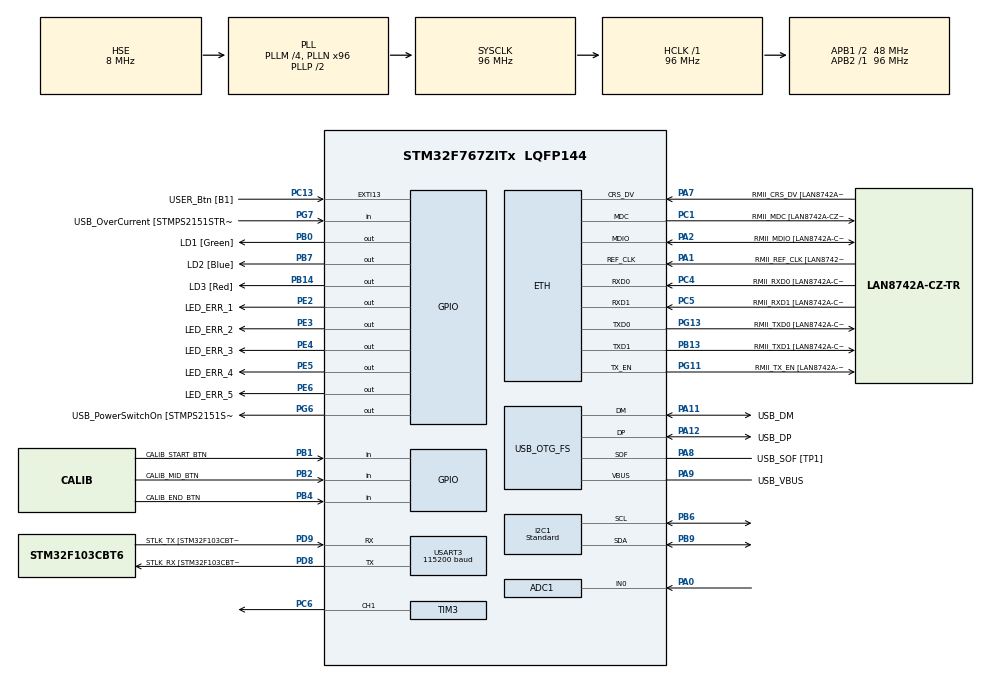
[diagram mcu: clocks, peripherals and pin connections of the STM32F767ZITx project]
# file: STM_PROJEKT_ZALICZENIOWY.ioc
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ADC1.Channel-0\#ChannelRegularConversion=ADC_CHANNEL_0
ADC1.ContinuousConvMode=DISABLE
ADC1.NbrOfConversionFlag=1
ADC1.Rank-0\#ChannelRegularConversion=1
ADC1.SamplingTime-0\#ChannelRegularConversion=ADC_SAMPLETIME_480CYCLES
ADC1.master=1
ARM.CMSIS.5.7.0.CMSISJjCORE=true
ARM.CMSIS.5.7.0.CMSISJjDSP=Library
ETH.MediaInterface=HAL_ETH_RMII_MODE
ETH.PHY_Name=LAN8742A_PHY_ADDRESS
ETH.PHY_Value=0
ETH.PhyAddress=0
FREERTOS.Tasks01=defaultTask,0,256,StartDefaultTask,Default,NULL,Dynamic,NULL,NULL;ControlTask,2,512,StartControlTask,Default,NULL,Dynamic,NULL,NULL
FREERTOS.configUSE_NEWLIB_REENTRANT=1
I2C1.I2C_Speed_Mode=I2C_Standard
I2C1.Timing=0x20303E5D
Mcu.Family=STM32F7
Mcu.Name=STM32F767ZITx
Mcu.Package=LQFP144
NVIC.PriorityGroup=NVIC_PRIORITYGROUP_4
NVIC.TIM1_UP_TIM10_IRQn=true\:15\:0\:false\:false\:true\:false\:false\:true\:true
NVIC.TimeBase=TIM1_UP_TIM10_IRQn
NVIC.TimeBaseIP=TIM1
NVIC.USART3_IRQn=true\:5\:0\:false\:false\:true\:true\:true\:true\:true
PA0/WKUP.Signal=ADCx_IN0
PA1.GPIO_Label=RMII_REF_CLK [LAN8742A-CZ-TR_REFCLK0]
PA1.Mode=RMII
PA1.Signal=ETH_REF_CLK
PA10.GPIO_Label=USB_ID
PA10.Signal=USB_OTG_FS_ID
PA11.GPIO_Label=USB_DM
PA11.Mode=Device_Only
PA11.Signal=USB_OTG_FS_DM
PA12.GPIO_Label=USB_DP
PA12.Mode=Device_Only
PA12.Signal=USB_OTG_FS_DP
PA13.GPIO_Label=TMS
PA13.Mode=Serial_Wire
PA13.Signal=SYS_JTMS-SWDIO
PA14.GPIO_Label=TCK
PA14.Mode=Serial_Wire
PA14.Signal=SYS_JTCK-SWCLK
PA2.GPIO_Label=RMII_MDIO [LAN8742A-CZ-TR_MDIO]
PA2.Mode=RMII
PA2.Signal=ETH_MDIO
PA7.GPIO_Label=RMII_CRS_DV [LAN8742A-CZ-TR_CRS_DV]
PA7.Mode=RMII
PA7.Signal=ETH_CRS_DV
PA8.GPIO_Label=USB_SOF [TP1]
PA8.Mode=Activate_SOF_FS
PA8.Signal=USB_OTG_FS_SOF
PA9.GPIO_Label=USB_VBUS
PA9.Mode=Activate_VBUS
PA9.Signal=USB_OTG_FS_VBUS
PB0.GPIO_Label=LD1 [Green]
PB0.Signal=GPIO_Output
PB1.GPIO_Label=CALIB_START_BTN
PB1.GPIO_PuPd=GPIO_PULLUP
PB1.Signal=GPIO_Input
PB13.GPIO_Label=RMII_TXD1 [LAN8742A-CZ-TR_TXD1]
PB13.Mode=RMII
PB13.Signal=ETH_TXD1
PB14.GPIO_Label=LD3 [Red]
PB14.Signal=GPIO_Output
PB2.GPIO_Label=CALIB_MID_BTN
PB2.GPIO_PuPd=GPIO_PULLUP
PB2.Signal=GPIO_Input
PB3.GPIO_Label=SWO
PB3.Signal=SYS_JTDO-SWO
PB4.GPIO_Label=CALIB_END_BTN
PB4.GPIO_PuPd=GPIO_PULLUP
PB4.Signal=GPIO_Input
PB6.Mode=I2C
PB6.Signal=I2C1_SCL
PB7.GPIO_Label=LD2 [Blue]
PB7.Signal=GPIO_Output
PB9.Mode=I2C
PB9.Signal=I2C1_SDA
PC1.GPIO_Label=RMII_MDC [LAN8742A-CZ-TR_MDC]
PC1.Mode=RMII
PC1.Signal=ETH_MDC
PC13.GPIO_Label=USER_Btn [B1]
PC13.Signal=GPXTI13
PC14/OSC32_IN.Mode=LSE-External-Oscillator
PC14/OSC32_IN.Signal=RCC_OSC32_IN
PC15/OSC32_OUT.Mode=LSE-External-Oscillator
PC15/OSC32_OUT.Signal=RCC_OSC32_OUT
PC4.GPIO_Label=RMII_RXD0 [LAN8742A-CZ-TR_RXD0]
PC4.Mode=RMII
PC4.Signal=ETH_RXD0
PC5.GPIO_Label=RMII_RXD1 [LAN8742A-CZ-TR_RXD1]
PC5.Mode=RMII
PC5.Signal=ETH_RXD1
PC6.Signal=S_TIM3_CH1
PD8.GPIO_Label=STLK_RX [STM32F103CBT6_PA3]
PD8.Mode=Asynchronous
PD8.Signal=USART3_TX
PD9.GPIO_Label=STLK_TX [STM32F103CBT6_PA2]
PD9.Mode=Asynchronous
PD9.Signal=USART3_RX
PE2.GPIO_Label=LED_ERR_1
PE2.Signal=GPIO_Output
PE3.GPIO_Label=LED_ERR_2
PE3.Signal=GPIO_Output
PE4.GPIO_Label=LED_ERR_3
PE4.Signal=GPIO_Output
PE5.GPIO_Label=LED_ERR_4
PE5.Signal=GPIO_Output
PE6.GPIO_Label=LED_ERR_5
PE6.Signal=GPIO_Output
PG11.GPIO_Label=RMII_TX_EN [LAN8742A-CZ-TR_TXEN]
PG11.Mode=RMII
PG11.Signal=ETH_TX_EN
PG13.GPIO_Label=RMII_TXD0 [LAN8742A-CZ-TR_TXD0]
PG13.Mode=RMII
PG13.Signal=ETH_TXD0
PG6.GPIO_Label=USB_PowerSwitchOn [STMPS2151STR_EN]
PG6.Signal=GPIO_Output
PG7.GPIO_Label=USB_OverCurrent [STMPS2151STR_FAULT]
PG7.Signal=GPIO_Input
PH0/OSC_IN.GPIO_Label=MCO [STM32F103CBT6_PA8]
PH0/OSC_IN.Mode=HSE-External-Clock-Source
PH0/OSC_IN.Signal=RCC_OSC_IN
PH1/OSC_OUT.Mode=HSE-External-Clock-Source
PH1/OSC_OUT.Signal=RCC_OSC_OUT
ProjectManager.HeapSize=0x200
ProjectManager.StackSize=0x400
ProjectManager.TargetToolchain=STM32CubeIDE
RCC.48MHZClocksFreq_Value=24000000
RCC.AHBFreq_Value=96000000
RCC.APB1CLKDivider=RCC_HCLK_DIV2
RCC.APB1Freq_Value=48000000
RCC.APB1TimFreq_Value=96000000
RCC.APB2Freq_Value=96000000
RCC.APB2TimFreq_Value=96000000
RCC.CortexFreq_Value=96000000
RCC.HCLKFreq_Value=96000000
RCC.HSE_VALUE=8000000
RCC.HSI_VALUE=16000000
RCC.PLLM=4
RCC.PLLMUL=RCC_PLL_MUL9
RCC.PLLN=96
RCC.PLLQ=4
RCC.PRESCALERUSB=RCC_USBCLKSOURCE_PLL_DIV1_5
RCC.SYSCLKFreq_VALUE=96000000
RCC.SYSCLKSource=RCC_SYSCLKSOURCE_PLLCLK
RCC.SYSCLKSourceVirtual=RCC_SYSCLKSOURCE_PLLCLK
RCC.USBFreq_Value=48000000
RCC.VCOOutputFreq_Value=192000000
SH.ADCx_IN0.0=ADC1_IN0,IN0
SH.S_TIM3_CH1.0=TIM3_CH1,PWM Generation1 CH1
TIM3.Channel-PWM\ Generation1\ CH1=TIM_CHANNEL_1
TIM3.Period=19999
TIM3.Prescaler=95
USART3.BaudRate=115200
USART3.VirtualMode-Asynchronous=VM_ASYNC
USB_OTG_FS.VirtualMode=Device_Only
VP_ARM.CMSIS_VS_CMSISJjCORE_5.4.0_5.7.0.Mode=CMSISJjCORE
VP_ARM.CMSIS_VS_CMSISJjDSP_1.8.0_5.7.0.Mode=CMSISJjDSP
VP_FREERTOS_VS_CMSIS_V1.Mode=CMSIS_V1
VP_SYS_VS_tim1.Mode=TIM1
VP_TIM3_VS_ClockSourceINT.Mode=Internal
board=NUCLEO-F767ZI

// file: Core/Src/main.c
/* USER CODE BEGIN Header */
/**
 ******************************************************************************
 * @file           : main.c
 * @brief          : Main program body
 ******************************************************************************
 * @attention
 *
 * Copyright (c) 2025 STMicroelectronics.
 * All rights reserved.
 *
 * This software is licensed under terms that can be found in the LICENSE file
 * in the root directory of this software component.
 * If no LICENSE file comes with this software, it is provided AS-IS.
 *
 ******************************************************************************
 */
/* USER CODE END Header */
#include "main.h"
#include "string.h"
#include "cmsis_os.h"

/* USER CODE BEGIN Includes */

#include "VL53L0X.h"
#include <stdio.h>
#include <stdlib.h>
#include "filters.h"
#include "calibration.h"

/* USER CODE END Includes */

/* USER CODE BEGIN PTD */

// --- Parametry PID ---
typedef struct {
	float Kp;
	float Ki;
	float Kd;
	float prevError;
	float integral;
	float prevMeasurement;  // Do obliczania pochodnej na podstawie pomiaru (Derivative-on-Measurement)
	EMA_Filter_t d_filter;  // Filtr dolnoprzepustowy dla członu różniczkującego
} ServoPID_Controller;

/* USER CODE END PTD */

/* USER CODE BEGIN PD */
//Konfiguracja rampy
#define SETPOINT_DEFAULT   100.0f
#define BALL_RADIUS        20
#define PID_DT_MS          30

// Zakres ruchu serwa
#define SERVO_CENTER       100.0f
#define SERVO_MIN_LIMIT    50.0f
#define SERVO_MAX_LIMIT    150.0f

// Ustawienia sprzętowe Serwa (PWM)
#define SERVO_MIN_CCR      500
#define SERVO_MAX_CCR      2500
#define SERVO_MAX_ANGLE    200

// Tryby
#define SENSOR_TEST_MODE   0  // 1: logowanie surowych danych (debugowanie)
#define USE_CALIBRATION    1  // 1: użyj kalibracji 5-punktowej, 0: surowe dane

// Ustawienia PID i Filtracji
#define D_DEADBAND         0.5f   // mm - strefa nieczułości dla członu D
#define D_FILTER_ALPHA     0.25f  // Wygładzanie dla członu D (0.0 - 1.0)

// Wygładzanie Serwa
#define SERVO_ANGLE_DEADBAND  0.0f // Strefa nieczułości serwa (0.8 stopnia) - ignoruje małe drgania
#define SERVO_SMOOTHING_SIZE  1    // Ilość próbek do wygładzania ruchu

#define AVG_ERR_SAMPLES       35   // Liczba próbek do średniego uchybu (ok. 1 sekunda)
/* USER CODE END PD */

#if defined ( __ICCARM__ ) /*!< IAR Compiler */
#pragma location=0x2007c000
ETH_DMADescTypeDef  DMARxDscrTab[ETH_RX_DESC_CNT]; /* Ethernet Rx DMA Descriptors */
#pragma location=0x2007c0a0
ETH_DMADescTypeDef  DMATxDscrTab[ETH_TX_DESC_CNT]; /* Ethernet Tx DMA Descriptors */

#elif defined ( __CC_ARM )  /* MDK ARM Compiler */

__attribute__((at(0x2007c000))) ETH_DMADescTypeDef  DMARxDscrTab[ETH_RX_DESC_CNT]; /* Ethernet Rx DMA Descriptors */
__attribute__((at(0x2007c0a0))) ETH_DMADescTypeDef  DMATxDscrTab[ETH_TX_DESC_CNT]; /* Ethernet Tx DMA Descriptors */

#elif defined ( __GNUC__ ) /* GNU Compiler */

ETH_DMADescTypeDef DMARxDscrTab[ETH_RX_DESC_CNT] __attribute__((section(".RxDecripSection"))); /* Ethernet Rx DMA Descriptors */
ETH_DMADescTypeDef DMATxDscrTab[ETH_TX_DESC_CNT] __attribute__((section(".TxDecripSection")));   /* Ethernet Tx DMA Descriptors */
#endif

ETH_TxPacketConfig TxConfig;

ADC_HandleTypeDef hadc1;

ETH_HandleTypeDef heth;

I2C_HandleTypeDef hi2c1;

TIM_HandleTypeDef htim3;

UART_HandleTypeDef huart3;

PCD_HandleTypeDef hpcd_USB_OTG_FS;

osThreadId defaultTaskHandle;
osThreadId ControlTaskHandle;
/* USER CODE BEGIN PV */
uint16_t distance;
char msg[64];

// Zmienne obsługi UART
uint8_t rx_byte;
uint8_t rx_buffer[64];
volatile uint8_t rx_idx = 0;
volatile uint8_t cmd_received = 0;

// Główne zmienne sterujące
// Pozycja piłki: 0 mm (start) - 290 mm (koniec)
volatile float g_setpoint = 145.0f; // Domyślnie środek belki
volatile float g_Kp = 0.15f;       // Wzmocnienie proporcjonalne (dodatnie po obrocie serwa)
volatile float g_Ki = 0.0025f;     // Wzmocnienie całkujące (dodatnie po obrocie serwa)
volatile float g_Kd = 6.0f;        // Wzmocnienie różniczkujące (dodatnie po obrocie serwa)

// Zmienne kalibracji
volatile uint8_t calibration_mode = 0;
volatile float cal_raw_min = 9999.0f;
volatile float cal_raw_max = 0.0f;
volatile uint32_t cal_start_time = 0;

// Domyślne punkty kalibracyjne
volatile float sensor_min = 50.0f;
volatile float sensor_max = 220.0f;
volatile float sensor_middle = 115.0f;

// Bufor średniego uchybu
float err_buffer[AVG_ERR_SAMPLES];
uint8_t err_idx = 0;
float err_sum = 0.0f;

// Tryb sterowania: 0 = GUI (Manual), 1 = Analog (Potencjometr)
volatile uint8_t control_mode = 0;

// Debugging
volatile uint32_t g_adc_raw = 0;
volatile float g_pot_setpoint = 0.0f;

/* USER CODE END PV */

void SystemClock_Config(void);
static void MX_GPIO_Init(void);
static void MX_ETH_Init(void);
static void MX_USART3_UART_Init(void);
static void MX_USB_OTG_FS_PCD_Init(void);
static void MX_TIM3_Init(void);
static void MX_I2C1_Init(void);
static void MX_ADC1_Init(void);
void StartDefaultTask(void const * argument);
void StartControlTask(void const * argument);

/* USER CODE BEGIN PFP */

void SetServoAngle(float angle);
void ServoPID_Init(ServoPID_Controller *pid);
float ServoPID_Compute(ServoPID_Controller *pid, float error, float measurement);
void TestLED(); // Funkcja testowa dla weryfikacji połączenia LED

/* USER CODE END PFP */

/* USER CODE BEGIN 0 */
void HAL_UART_RxCpltCallback(UART_HandleTypeDef *huart) {
	if (huart->Instance == USART3) {
		if (cmd_received == 0) {
			if (rx_byte == '\n' || rx_byte == '\r') {
				rx_buffer[rx_idx] = '\0';
				if (rx_idx > 0)
					cmd_received = 1;
				rx_idx = 0;
			} else {
				if (rx_idx < 63) {
					rx_buffer[rx_idx++] = rx_byte;
				}
			}
		}
		HAL_UART_Receive_IT(&huart3, &rx_byte, 1);
	}
}

void ServoPID_Init(ServoPID_Controller *pid) {
	pid->Kp = 0.0f;
	pid->Ki = 0.0f;
	pid->Kd = 0.0f;
	pid->prevError = 0.0f;
	pid->integral = 0.0f;
	pid->prevMeasurement = 0.0f;
	EMA_Init(&pid->d_filter, D_FILTER_ALPHA);
}

float ServoPID_Compute(ServoPID_Controller *pid, float error, float measurement) {
	pid->Kp = g_Kp;
	pid->Ki = g_Ki;
	pid->Kd = g_Kd;

	// 1. Obliczamy D (Derivative) najpierw, aby znać jej wpływ na wyjście
	float D = 0.0f;
	float raw_derivative = -(measurement - pid->prevMeasurement);

	if (raw_derivative > -D_DEADBAND && raw_derivative < D_DEADBAND) {
		raw_derivative = 0.0f;
	}
	float filtered_derivative = EMA_Update(&pid->d_filter, raw_derivative);
	D = pid->Kd * filtered_derivative;
	pid->prevMeasurement = measurement; // Update state

	// 2. Obliczamy P (Proportional)
	float P = pid->Kp * error;

	// 3. Obliczamy Anti-Windup (Clamping)
	// Obliczamy wyjście bez nowej całki (używamy starej całki)
	float old_I = pid->Ki * pid->integral;
	float tentative_output = SERVO_CENTER + P + old_I + D;

	int saturated = 0;
	// Sprawdzamy czy to wyjście przekracza limity
	if (tentative_output > SERVO_MAX_LIMIT) {
		saturated = 1; // Nasycenie górne
	} else if (tentative_output < SERVO_MIN_LIMIT) {
		saturated = -1; // Nasycenie dolne
	}

	// Decyzja o całkowaniu:
	// Całkujemy jeśli:
	// a) Nie ma nasycenia (saturated == 0)
	// b) Nasycenie jest górne (1), ale błąd * Ki ma znak ujemny (chce zmniejszyć wyjście)
	// c) Nasycenie jest dolne (-1), ale błąd * Ki ma znak dodatni (chce zwiększyć wyjście)

	// Uwaga: Znak zmiany całki zależy od znaku (error * Ki).
	// Jeśli Ki jest ujemne, to error>0 zmniejsza całkę (ujemny wkład).

	float integration_contribution = error * pid->Ki;

	if (saturated == 0) {
		pid->integral += error;
	} else if (saturated == 1 && integration_contribution < 0) {
		// Jesteśmy na MAX limicie, ale sterownik chce zmniejszyć wyjście -> POZWÓL CAŁKOWAĆ
		pid->integral += error;
	} else if (saturated == -1 && integration_contribution > 0) {
		// Jesteśmy na MIN limicie, ale sterownik chce zwiększyć wyjście -> POZWÓL CAŁKOWAĆ
		pid->integral += error;
	}

	// Twardy limit całki (failsafe)
	if (pid->integral > 3000.0f)
		pid->integral = 3000.0f;
	if (pid->integral < -3000.0f)
		pid->integral = -3000.0f;

	// 4. Finalne wyjście
	float new_I = pid->Ki * pid->integral;
	float output = SERVO_CENTER + P + new_I + D;

	pid->prevError = error;

	return output;
}

void SetServoAngle(float angle) {
	// Sterowanie serwem SG90/MG996R:
	// 0 stopni = impuls ~500us
	// 180 stopni  = impuls ~2500us

	if (angle < 0.0f)
		angle = 0.0f;
	if (angle > 180.0f)
		angle = 180.0f;

	uint32_t pulse_length = (uint32_t) (500.0f + (angle / 180.0f) * 2000.0f);
	__HAL_TIM_SET_COMPARE(&htim3, TIM_CHANNEL_1, pulse_length);
}

uint8_t CalculateCRC8(const char *data, int len) {
	uint8_t crc = 0x00;
	for (int i = 0; i < len; i++) {
		crc ^= data[i];
		for (uint8_t j = 0; j < 8; j++) {
			if (crc & 0x80)
				crc = (crc << 1) ^ 0x07;
			else
				crc <<= 1;
		}
	}
	return crc;
}

// Funkcja testowa - zapala/gasi LED_ERR_1 (PE2) co 500ms
void TestLED() {
	static uint32_t last_toggle = 0;

	if (HAL_GetTick() - last_toggle > 500) {
		HAL_GPIO_TogglePin(LED_ERR_PORT, LED_ERR_1_Pin);
		last_toggle = HAL_GetTick();
	}
}

// Funkcja docelowa dla 5 diod (R-Ż-Z-Ż-R)
void UpdateErrorLEDs_5LED(float error) {
	// Wyłącz wszystkie LEDy (PE2..PE6)
	HAL_GPIO_WritePin(GPIOE, LED_ERR_1_Pin | LED_ERR_2_Pin | LED_ERR_3_Pin |
	                         LED_ERR_4_Pin | LED_ERR_5_Pin, GPIO_PIN_RESET);

	// Progi:
	// 1% z 290mm = 2.9mm
	// 5% z 290mm = 14.5mm
	float limit_green = 2.9f;
	float limit_yellow = 14.5f;

	if (error < -limit_yellow) {
		// Duży ujemny -> Czerwona (PE2 - LED_ERR_1)
		HAL_GPIO_WritePin(GPIOE, LED_ERR_1_Pin, GPIO_PIN_SET);
	} else if (error < -limit_green) {
		// Średni ujemny -> Żółta (PE3 - LED_ERR_2)
		HAL_GPIO_WritePin(GPIOE, LED_ERR_2_Pin, GPIO_PIN_SET);
	} else if (error <= limit_green) {
		// Mały błąd (+/- 2.9mm) -> Zielona (PE4 - LED_ERR_3)
		// Uwaga: W main.h zdefiniowalismy LED_ERR_3_Pin jako PE4
		HAL_GPIO_WritePin(GPIOE, LED_ERR_3_Pin, GPIO_PIN_SET);
	} else if (error <= limit_yellow) {
		// Średni dodatni -> Żółta (PE5 - LED_ERR_4)
		HAL_GPIO_WritePin(GPIOE, LED_ERR_4_Pin, GPIO_PIN_SET);
	} else {
		// Duży dodatni -> Czerwona (PE6 - LED_ERR_5)
		HAL_GPIO_WritePin(GPIOE, LED_ERR_5_Pin, GPIO_PIN_SET);
	}
}

/* USER CODE END 0 */

int main(void)
{

  /* MCU Configuration--------------------------------------------------------*/

  /* Reset of all peripherals, Initializes the Flash interface and the Systick. */
  HAL_Init();

  /* USER CODE BEGIN Init */
	HAL_Delay(500); // Czekaj na ustabilizowanie zasilania czujników
  /* USER CODE END Init */

  /* Configure the system clock */
  SystemClock_Config();

  /* Initialize all configured peripherals */
  MX_GPIO_Init();
  MX_ETH_Init();
  MX_USART3_UART_Init();
  MX_USB_OTG_FS_PCD_Init();
  MX_TIM3_Init();
  MX_I2C1_Init();
  MX_ADC1_Init();
  /* USER CODE BEGIN 2 */

	// Initialization moved to StartControlTask
  /* USER CODE END 2 */

  /* Create the thread(s) */
  /* definition and creation of defaultTask */
  osThreadDef(defaultTask, StartDefaultTask, osPriorityNormal, 0, 256);
  defaultTaskHandle = osThreadCreate(osThread(defaultTask), NULL);

  /* definition and creation of ControlTask */
  osThreadDef(ControlTask, StartControlTask, osPriorityHigh, 0, 512);
  ControlTaskHandle = osThreadCreate(osThread(ControlTask), NULL);

  /* Start scheduler */
  osKernelStart();

  /* We should never get here as control is now taken by the scheduler */

  /* Infinite loop */
  /* USER CODE BEGIN WHILE */
	/* USER CODE BEGIN WHILE */
	while (1) {
    /* USER CODE END WHILE */

	}
}

void SystemClock_Config(void)
{
  RCC_OscInitTypeDef RCC_OscInitStruct = {0};
  RCC_ClkInitTypeDef RCC_ClkInitStruct = {0};

  /** Configure LSE Drive Capability
  */
  HAL_PWR_EnableBkUpAccess();

  /** Configure the main internal regulator output voltage
  */
  __HAL_RCC_PWR_CLK_ENABLE();
  __HAL_PWR_VOLTAGESCALING_CONFIG(PWR_REGULATOR_VOLTAGE_SCALE3);

  /** Initializes the RCC Oscillators according to the specified parameters
  * in the RCC_OscInitTypeDef structure.
  */
  RCC_OscInitStruct.OscillatorType = RCC_OSCILLATORTYPE_HSE;
  RCC_OscInitStruct.HSEState = RCC_HSE_BYPASS;
  RCC_OscInitStruct.PLL.PLLState = RCC_PLL_ON;
  RCC_OscInitStruct.PLL.PLLSource = RCC_PLLSOURCE_HSE;
  RCC_OscInitStruct.PLL.PLLM = 4;
  RCC_OscInitStruct.PLL.PLLN = 96;
  RCC_OscInitStruct.PLL.PLLP = RCC_PLLP_DIV2;
  RCC_OscInitStruct.PLL.PLLQ = 4;
  RCC_OscInitStruct.PLL.PLLR = 2;
  if (HAL_RCC_OscConfig(&RCC_OscInitStruct) != HAL_OK)
  {
    Error_Handler();
  }

  /** Activate the Over-Drive mode
  */
  if (HAL_PWREx_EnableOverDrive() != HAL_OK)
  {
    Error_Handler();
  }

  /** Initializes the CPU, AHB and APB buses clocks
  */
  RCC_ClkInitStruct.ClockType = RCC_CLOCKTYPE_HCLK|RCC_CLOCKTYPE_SYSCLK
                              |RCC_CLOCKTYPE_PCLK1|RCC_CLOCKTYPE_PCLK2;
  RCC_ClkInitStruct.SYSCLKSource = RCC_SYSCLKSOURCE_PLLCLK;
  RCC_ClkInitStruct.AHBCLKDivider = RCC_SYSCLK_DIV1;
  RCC_ClkInitStruct.APB1CLKDivider = RCC_HCLK_DIV2;
  RCC_ClkInitStruct.APB2CLKDivider = RCC_HCLK_DIV1;

  if (HAL_RCC_ClockConfig(&RCC_ClkInitStruct, FLASH_LATENCY_3) != HAL_OK)
  {
    Error_Handler();
  }
}

static void MX_ADC1_Init(void)
{

  ADC_ChannelConfTypeDef sConfig = {0};

  /** Configure the global features of the ADC (Clock, Resolution, Data Alignment and number of conversion)
  */
  hadc1.Instance = ADC1;
  hadc1.Init.ClockPrescaler = ADC_CLOCK_SYNC_PCLK_DIV4;
  hadc1.Init.Resolution = ADC_RESOLUTION_12B;
  hadc1.Init.ScanConvMode = ADC_SCAN_DISABLE;
  hadc1.Init.ContinuousConvMode = DISABLE;
  hadc1.Init.DiscontinuousConvMode = DISABLE;
  hadc1.Init.ExternalTrigConvEdge = ADC_EXTERNALTRIGCONVEDGE_NONE;
  hadc1.Init.ExternalTrigConv = ADC_SOFTWARE_START;
  hadc1.Init.DataAlign = ADC_DATAALIGN_RIGHT;
  hadc1.Init.NbrOfConversion = 1;
  hadc1.Init.DMAContinuousRequests = DISABLE;
  hadc1.Init.EOCSelection = ADC_EOC_SINGLE_CONV;
  if (HAL_ADC_Init(&hadc1) != HAL_OK)
  {
    Error_Handler();
  }

  /** Configure for the selected ADC regular channel its corresponding rank in the sequencer and its sample time.
  */
  sConfig.Channel = ADC_CHANNEL_0;
  sConfig.Rank = ADC_REGULAR_RANK_1;
  sConfig.SamplingTime = ADC_SAMPLETIME_480CYCLES;
  if (HAL_ADC_ConfigChannel(&hadc1, &sConfig) != HAL_OK)
  {
    Error_Handler();
  }

}

static void MX_ETH_Init(void)
{

   static uint8_t MACAddr[6];

  heth.Instance = ETH;
  MACAddr[0] = 0x00;
  MACAddr[1] = 0x80;
  MACAddr[2] = 0xE1;
  MACAddr[3] = 0x00;
  MACAddr[4] = 0x00;
  MACAddr[5] = 0x00;
  heth.Init.MACAddr = &MACAddr[0];
  heth.Init.MediaInterface = HAL_ETH_RMII_MODE;
  heth.Init.TxDesc = DMATxDscrTab;
  heth.Init.RxDesc = DMARxDscrTab;
  heth.Init.RxBuffLen = 1524;

  if (HAL_ETH_Init(&heth) != HAL_OK)
  {
    Error_Handler();
  }

  memset(&TxConfig, 0 , sizeof(ETH_TxPacketConfig));
  TxConfig.Attributes = ETH_TX_PACKETS_FEATURES_CSUM | ETH_TX_PACKETS_FEATURES_CRCPAD;
  TxConfig.ChecksumCtrl = ETH_CHECKSUM_IPHDR_PAYLOAD_INSERT_PHDR_CALC;
  TxConfig.CRCPadCtrl = ETH_CRC_PAD_INSERT;

}

static void MX_I2C1_Init(void)
{

  hi2c1.Instance = I2C1;
  hi2c1.Init.Timing = 0x20303E5D;
  hi2c1.Init.OwnAddress1 = 0;
  hi2c1.Init.AddressingMode = I2C_ADDRESSINGMODE_7BIT;
  hi2c1.Init.DualAddressMode = I2C_DUALADDRESS_DISABLE;
  hi2c1.Init.OwnAddress2 = 0;
  hi2c1.Init.OwnAddress2Masks = I2C_OA2_NOMASK;
  hi2c1.Init.GeneralCallMode = I2C_GENERALCALL_DISABLE;
  hi2c1.Init.NoStretchMode = I2C_NOSTRETCH_DISABLE;
  if (HAL_I2C_Init(&hi2c1) != HAL_OK)
  {
    Error_Handler();
  }

  /** Configure Analogue filter
  */
  if (HAL_I2CEx_ConfigAnalogFilter(&hi2c1, I2C_ANALOGFILTER_ENABLE) != HAL_OK)
  {
    Error_Handler();
  }

  /** Configure Digital filter
  */
  if (HAL_I2CEx_ConfigDigitalFilter(&hi2c1, 0) != HAL_OK)
  {
    Error_Handler();
  }

}

static void MX_TIM3_Init(void)
{

  TIM_ClockConfigTypeDef sClockSourceConfig = {0};
  TIM_MasterConfigTypeDef sMasterConfig = {0};
  TIM_OC_InitTypeDef sConfigOC = {0};

  htim3.Instance = TIM3;
  htim3.Init.Prescaler = 95;
  htim3.Init.CounterMode = TIM_COUNTERMODE_UP;
  htim3.Init.Period = 19999;
  htim3.Init.ClockDivision = TIM_CLOCKDIVISION_DIV1;
  htim3.Init.AutoReloadPreload = TIM_AUTORELOAD_PRELOAD_DISABLE;
  if (HAL_TIM_Base_Init(&htim3) != HAL_OK)
  {
    Error_Handler();
  }
  sClockSourceConfig.ClockSource = TIM_CLOCKSOURCE_INTERNAL;
  if (HAL_TIM_ConfigClockSource(&htim3, &sClockSourceConfig) != HAL_OK)
  {
    Error_Handler();
  }
  if (HAL_TIM_PWM_Init(&htim3) != HAL_OK)
  {
    Error_Handler();
  }
  sMasterConfig.MasterOutputTrigger = TIM_TRGO_RESET;
  sMasterConfig.MasterSlaveMode = TIM_MASTERSLAVEMODE_DISABLE;
  if (HAL_TIMEx_MasterConfigSynchronization(&htim3, &sMasterConfig) != HAL_OK)
  {
    Error_Handler();
  }
  sConfigOC.OCMode = TIM_OCMODE_PWM1;
  sConfigOC.Pulse = 0;
  sConfigOC.OCPolarity = TIM_OCPOLARITY_HIGH;
  sConfigOC.OCFastMode = TIM_OCFAST_DISABLE;
  if (HAL_TIM_PWM_ConfigChannel(&htim3, &sConfigOC, TIM_CHANNEL_1) != HAL_OK)
  {
    Error_Handler();
  }
  HAL_TIM_MspPostInit(&htim3);

}

static void MX_USART3_UART_Init(void)
{

  huart3.Instance = USART3;
  huart3.Init.BaudRate = 115200;
  huart3.Init.WordLength = UART_WORDLENGTH_8B;
  huart3.Init.StopBits = UART_STOPBITS_1;
  huart3.Init.Parity = UART_PARITY_NONE;
  huart3.Init.Mode = UART_MODE_TX_RX;
  huart3.Init.HwFlowCtl = UART_HWCONTROL_NONE;
  huart3.Init.OverSampling = UART_OVERSAMPLING_16;
  huart3.Init.OneBitSampling = UART_ONE_BIT_SAMPLE_DISABLE;
  huart3.AdvancedInit.AdvFeatureInit = UART_ADVFEATURE_NO_INIT;
  if (HAL_UART_Init(&huart3) != HAL_OK)
  {
    Error_Handler();
  }

}

static void MX_USB_OTG_FS_PCD_Init(void)
{

  hpcd_USB_OTG_FS.Instance = USB_OTG_FS;
  hpcd_USB_OTG_FS.Init.dev_endpoints = 6;
  hpcd_USB_OTG_FS.Init.speed = PCD_SPEED_FULL;
  hpcd_USB_OTG_FS.Init.dma_enable = DISABLE;
  hpcd_USB_OTG_FS.Init.phy_itface = PCD_PHY_EMBEDDED;
  hpcd_USB_OTG_FS.Init.Sof_enable = ENABLE;
  hpcd_USB_OTG_FS.Init.low_power_enable = DISABLE;
  hpcd_USB_OTG_FS.Init.lpm_enable = DISABLE;
  hpcd_USB_OTG_FS.Init.vbus_sensing_enable = ENABLE;
  hpcd_USB_OTG_FS.Init.use_dedicated_ep1 = DISABLE;
  if (HAL_PCD_Init(&hpcd_USB_OTG_FS) != HAL_OK)
  {
    Error_Handler();
  }

}

static void MX_GPIO_Init(void)
{
  GPIO_InitTypeDef GPIO_InitStruct = {0};

  /* GPIO Ports Clock Enable */
  __HAL_RCC_GPIOE_CLK_ENABLE();
  __HAL_RCC_GPIOC_CLK_ENABLE();
  __HAL_RCC_GPIOH_CLK_ENABLE();
  __HAL_RCC_GPIOA_CLK_ENABLE();
  __HAL_RCC_GPIOB_CLK_ENABLE();
  __HAL_RCC_GPIOD_CLK_ENABLE();
  __HAL_RCC_GPIOG_CLK_ENABLE();

  /*Configure GPIO pin Output Level */
  HAL_GPIO_WritePin(GPIOE, LED_ERR_1_Pin|LED_ERR_2_Pin|LED_ERR_3_Pin|LED_ERR_4_Pin
                          |LED_ERR_5_Pin, GPIO_PIN_RESET);

  /*Configure GPIO pin Output Level */
  HAL_GPIO_WritePin(GPIOB, LD1_Pin|LD3_Pin|LD2_Pin, GPIO_PIN_RESET);

  /*Configure GPIO pin Output Level */
  HAL_GPIO_WritePin(USB_PowerSwitchOn_GPIO_Port, USB_PowerSwitchOn_Pin, GPIO_PIN_RESET);

  /*Configure GPIO pins : LED_ERR_1_Pin LED_ERR_2_Pin LED_ERR_3_Pin LED_ERR_4_Pin
                           LED_ERR_5_Pin */
  GPIO_InitStruct.Pin = LED_ERR_1_Pin|LED_ERR_2_Pin|LED_ERR_3_Pin|LED_ERR_4_Pin
                          |LED_ERR_5_Pin;
  GPIO_InitStruct.Mode = GPIO_MODE_OUTPUT_PP;
  GPIO_InitStruct.Pull = GPIO_NOPULL;
  GPIO_InitStruct.Speed = GPIO_SPEED_FREQ_LOW;
  HAL_GPIO_Init(GPIOE, &GPIO_InitStruct);

  /*Configure GPIO pin : USER_Btn_Pin */
  GPIO_InitStruct.Pin = USER_Btn_Pin;
  GPIO_InitStruct.Mode = GPIO_MODE_IT_RISING;
  GPIO_InitStruct.Pull = GPIO_NOPULL;
  HAL_GPIO_Init(USER_Btn_GPIO_Port, &GPIO_InitStruct);

  /*Configure GPIO pins : LD1_Pin LD3_Pin LD2_Pin */
  GPIO_InitStruct.Pin = LD1_Pin|LD3_Pin|LD2_Pin;
  GPIO_InitStruct.Mode = GPIO_MODE_OUTPUT_PP;
  GPIO_InitStruct.Pull = GPIO_NOPULL;
  GPIO_InitStruct.Speed = GPIO_SPEED_FREQ_LOW;
  HAL_GPIO_Init(GPIOB, &GPIO_InitStruct);

  /*Configure GPIO pins : CALIB_START_BTN_Pin CALIB_MID_BTN_Pin CALIB_END_BTN_Pin */
  GPIO_InitStruct.Pin = CALIB_START_BTN_Pin|CALIB_MID_BTN_Pin|CALIB_END_BTN_Pin;
  GPIO_InitStruct.Mode = GPIO_MODE_INPUT;
  GPIO_InitStruct.Pull = GPIO_PULLUP;
  HAL_GPIO_Init(GPIOB, &GPIO_InitStruct);

  /*Configure GPIO pin : USB_PowerSwitchOn_Pin */
  GPIO_InitStruct.Pin = USB_PowerSwitchOn_Pin;
  GPIO_InitStruct.Mode = GPIO_MODE_OUTPUT_PP;
  GPIO_InitStruct.Pull = GPIO_NOPULL;
  GPIO_InitStruct.Speed = GPIO_SPEED_FREQ_LOW;
  HAL_GPIO_Init(USB_PowerSwitchOn_GPIO_Port, &GPIO_InitStruct);

  /*Configure GPIO pin : USB_OverCurrent_Pin */
  GPIO_InitStruct.Pin = USB_OverCurrent_Pin;
  GPIO_InitStruct.Mode = GPIO_MODE_INPUT;
  GPIO_InitStruct.Pull = GPIO_NOPULL;
  HAL_GPIO_Init(USB_OverCurrent_GPIO_Port, &GPIO_InitStruct);

}

void StartDefaultTask(void const * argument)
{
	for (;;) {
		osDelay(1);
	}
}

void StartControlTask(void const * argument)
{
  /* USER CODE BEGIN StartControlTask */
	// Uruchomienie PWM dla serwa (Timer 3, Kanał 1)
	HAL_TIM_PWM_Start(&htim3, TIM_CHANNEL_1);

	// Czekamy 2 sekundy, aby kondensatory się naładowały i napięcie ustabilizowało.
	HAL_UART_Transmit(&huart3, (uint8_t*) "Stabilizing Power...\r\n", 22, 100);
	osDelay(2000);

	HAL_UART_Transmit(&huart3, (uint8_t*) "Setting Servo to CENTER\r\n", 25, 100);
	SetServoAngle(SERVO_CENTER); // Ustaw serwo na środek (100 stopni)

	// Test led
	HAL_GPIO_WritePin(GPIOB, LD1_Pin, GPIO_PIN_SET);
	osDelay(200);
	HAL_GPIO_WritePin(GPIOB, LD1_Pin, GPIO_PIN_RESET);

	// Inicjalizacja czujnika odległości VL53L0X
	statInfo_t_VL53L0X distanceStr;
	osDelay(100);

	HAL_UART_Transmit(&huart3, (uint8_t*) "Resetting VL53L0X...\r\n", 21, 100);

	uint8_t reset_val = 0x00;
	HAL_I2C_Mem_Write(&hi2c1, ADDRESS_DEFAULT, 0x00BF, 1, &reset_val, 1, 100);
	osDelay(50); // Czas na reset

	HAL_UART_Transmit(&huart3, (uint8_t*) "Initializing VL53L0X...\r\n", 25, 100);
	if (!initVL53L0X(1, &hi2c1)) {
		HAL_UART_Transmit(&huart3, (uint8_t*) "VL53L0X Init Failed!\r\n", 22, 100);
	} else {
		HAL_UART_Transmit(&huart3, (uint8_t*) "VL53L0X Init Success!\r\n", 23, 100);
	}

	startContinuous(0);

	HAL_UART_Transmit(&huart3, (uint8_t*) "VL53L0X Ready! Sending data...\r\n", 32, 100);

	Calibration_Init();

	HAL_UART_Receive_IT(&huart3, &rx_byte, 1);

	uint32_t loop_counter = 0;

	// Inicjalizacja filtrów
	OneEuroFilter_t one_euro;
	OneEuro_Init(&one_euro, 2.0f, 0.001f, 1.0f);

	MedianFilter_t median_filter;
	MedianFilter_Init(&median_filter);

	// Lekki filtr EMA dla czujnika (Alpha mniejsze = mocniejsze filtrowanie)
	EMA_Filter_t dist_ema;
	EMA_Init(&dist_ema, 0.5f);

	// Start ADC nie jest potrzebny tutaj w trybie Single, będziemy startować w pętli
	// HAL_ADC_Start(&hadc1);

	// Inicjalizacja kontrolera PID
	ServoPID_Controller pid;
	ServoPID_Init(&pid);

	// Zmienne pomocnicze do walidacji odczytów
	float prev_valid_dist = 145.0f;
	int invalid_count = 0;

	// Inicjalizacja bufora błędu
	for(int i=0; i<AVG_ERR_SAMPLES; i++) err_buffer[i] = 0.0f;

	/* Infinite loop */
	for (;;) {
		loop_counter++;

		// Obsługa komend UART
		if (cmd_received) {
			if (rx_buffer[0] == 'S' && rx_buffer[1] == ':') {
				g_setpoint = atof((char*) &rx_buffer[2]); // S:Setpoint
				if (g_setpoint < 0.0f)
					g_setpoint = 0.0f;
				if (g_setpoint > 290.0f)
					g_setpoint = 290.0f;
			} else if (rx_buffer[0] == 'P' && rx_buffer[1] == ':')
				g_Kp = atof((char*) &rx_buffer[2]);
			else if (rx_buffer[0] == 'I' && rx_buffer[1] == ':')
				g_Ki = atof((char*) &rx_buffer[2]);
			else if (rx_buffer[0] == 'D' && rx_buffer[1] == ':')
				g_Kd = atof((char*) &rx_buffer[2]);
			// Komendy Kalibracji
			// Format: "CAL0:50.0,0.0" -> Punkt 0: Surowy=50.0, Rzeczywisty=0.0
			else if (rx_buffer[0] == 'C' && rx_buffer[1] == 'A' && rx_buffer[2] == 'L') {
				int cal_idx = rx_buffer[3] - '0'; // Indeks punktu
				if (cal_idx >= 0 && cal_idx < 5) {
					char *comma = strchr((char*) &rx_buffer[5], ',');
					if (comma != NULL) {
						*comma = '\0';
						float raw_val = atof((char*) &rx_buffer[5]);
						float actual_val = atof(comma + 1);

						// Aktualizacja w bibliotece kalibracyjnej
						Calibration_UpdatePoint(cal_idx, raw_val, actual_val);

						// Sprawdzenie czy mamy komplet punktów
						if (Calibration_IsReady()) {
							sprintf(msg, "[CAL] ✅ All points received! System READY!\r\n");
							HAL_UART_Transmit(&huart3, (uint8_t*) msg, strlen(msg), 100);
						} else {
							// Potwierdzenie przyjęcia punktu
							int r_i = (int) raw_val;
							int r_d = (int) ((raw_val - r_i) * 10);
							int a_i = (int) actual_val;
							int a_d = (int) ((actual_val - a_i) * 10);

							sprintf(msg, "[CAL] Point %d: RAW=%d.%d -> POS=%d.%d (%d/5)\r\n", cal_idx, r_i, abs(r_d),
									a_i, abs(a_d), __builtin_popcount(Calibration_GetReceivedPointsMask()));
							HAL_UART_Transmit(&huart3, (uint8_t*) msg, strlen(msg), 100);
						}
					}
				}
			} else if (rx_buffer[0] == 'M' && rx_buffer[1] == ':') {
				// M:0 -> GUI, M:1 -> Potencjometr
				control_mode = (uint8_t) atoi((char*) &rx_buffer[2]);
				HAL_UART_Transmit(&huart3, (uint8_t*) (control_mode ? "MODE: ANALOG\r\n" : "MODE: GUI\r\n"), 14, 100);
			}

			cmd_received = 0;
		}

		// Odczyt dystansu w trybie continuous
		distance = readRangeContinuousMillimeters(&distanceStr);

		// --- Obsługa Potencjometru ---
		// Wyzwalanie ręczne (Single Mode)
		HAL_ADC_Start(&hadc1); // Start konwersji
		if (HAL_ADC_PollForConversion(&hadc1, 10) == HAL_OK) {
			g_adc_raw = HAL_ADC_GetValue(&hadc1);
			float pot_setpoint = (float)g_adc_raw * 0.070818f;
			g_pot_setpoint = pot_setpoint;

			// Jeśli tryb Analog, nadpisz setpoint
			if (control_mode == 1) {
				// Lekki filtr na setpoint z potencjometru, żeby nie skakał
				static float pot_ema = 0.0f;
				// Inicjuj przy pierwszym użyciu
				if (pot_ema == 0.0f) pot_ema = pot_setpoint;

				pot_ema = 0.1f * pot_setpoint + 0.9f * pot_ema;
				g_setpoint = pot_ema;
			}
		}
		// HAL_ADC_Stop nie jest konieczne w Single Mode (sam się zatrzymuje po EOC), ale dobre dla porządku
		HAL_ADC_Stop(&hadc1);

		if (distance >= 8190) {
			// 8190/8191 = Hardware error / Out of range
			distance = (uint16_t) prev_valid_dist;
		} else {
			// Accept the measurement even if Status != 0
			prev_valid_dist = (float) distance;
		}

		// Filtracja Medianowa (usuwanie szpilek z surowego odczytu)
		float dist_median = MedianFilter_Apply(&median_filter, (float) distance);

		// Filtracja Skoków (Spike Filter)
		if (loop_counter > 10) { // Allow startup
			float jump = dist_median - prev_valid_dist;
			if (jump < 0)
				jump = -jump;

			if (jump > 25.0f) {
				if (invalid_count < 5) {
					dist_median = prev_valid_dist; // Ignore this sample, use previous
					invalid_count++;
				} else {
					// Persisted long enough, accept it
					invalid_count = 0;
					prev_valid_dist = dist_median;
				}
			} else {
				prev_valid_dist = dist_median;
				invalid_count = 0;
			}
		} else {
			prev_valid_dist = dist_median;
		}

		if (!Calibration_IsReady()) {
			// Keep sending status message every 2 seconds
			static uint32_t last_cal_msg = 0;
			if (HAL_GetTick() - last_cal_msg > 2000) {
				sprintf(msg, "[WAITING] Calibration needed (%d/5 points)\r\n",
						__builtin_popcount(Calibration_GetReceivedPointsMask()));
				HAL_UART_Transmit(&huart3, (uint8_t*) msg, strlen(msg), 100);
				last_cal_msg = HAL_GetTick();
			}

			static uint8_t cal_throttle = 0;
			cal_throttle++;

			if (cal_throttle >= 2) { // Send every 2nd loop (~20ms)
				cal_throttle = 0;

				char cal_buffer[64];
				int cal_len = sprintf(cal_buffer, "D:%d;A:0;F:%d;E:0;S:%d", (int) dist_median, (int) dist_median,
						distanceStr.rangeStatus);
				uint8_t cal_crc = CalculateCRC8(cal_buffer, cal_len);
				sprintf(msg, "%s;C:%02X\r\n", cal_buffer, cal_crc);
				HAL_UART_Transmit(&huart3, (uint8_t*) msg, strlen(msg), 10);
			}

			HAL_GPIO_TogglePin(GPIOB, LD2_Pin);
			osDelay(10);
			continue; // Skip PID and servo control
		}

#if USE_CALIBRATION
		float dist_calibrated = Calibration_Interpolate(dist_median);
#else
      float dist_calibrated = dist_median;
#endif

		// Lekki filtr EMA (alpha=0.85)
		float filtered_dist = EMA_Update(&dist_ema, dist_calibrated);

		distance = (uint16_t) dist_calibrated;

		float current_error = g_setpoint - filtered_dist;
		float pid_error = current_error;

		// --- Obliczanie Średniego Błędu (Rolling Average) ---
		float current_abs_err = (current_error < 0) ? -current_error : current_error;

		err_sum -= err_buffer[err_idx];       // Odejmij najstarszą próbkę
		err_buffer[err_idx] = current_abs_err; // Zapisz nową
		err_sum += current_abs_err;           // Dodaj nową

		err_idx++;
		if(err_idx >= AVG_ERR_SAMPLES) err_idx = 0;

		float avg_error = err_sum / AVG_ERR_SAMPLES;

		// Strefa nieczułości dla uchybu (stabilizacja w punkcie równowagi)
		if (pid_error > -2.0f && pid_error < 2.0f) {
			pid_error = 0.0f;
		}

		float pid_angle = ServoPID_Compute(&pid, pid_error, filtered_dist);
		UpdateErrorLEDs_5LED(current_error); // Wizualizacja 5-LED
		// TestLED();

		static float prev_servo_angle = SERVO_CENTER;
		float max_angle_change = 180.0f;

		float angle_diff = pid_angle - prev_servo_angle;
		if (angle_diff > max_angle_change) {
			pid_angle = prev_servo_angle + max_angle_change;
		} else if (angle_diff < -max_angle_change) {
			pid_angle = prev_servo_angle - max_angle_change;
		}

		if (pid_angle < SERVO_MIN_LIMIT)
			pid_angle = SERVO_MIN_LIMIT;
		if (pid_angle > SERVO_MAX_LIMIT)
			pid_angle = SERVO_MAX_LIMIT;

		prev_servo_angle = pid_angle;

		static float ema_servo_angle = SERVO_CENTER;
		float alpha_servo = 0.55f;
		ema_servo_angle = alpha_servo * pid_angle + (1.0f - alpha_servo) * ema_servo_angle;
		float smoothed_angle = ema_servo_angle;

		static float last_sent_angle = SERVO_CENTER;
		float angle_change =
				(smoothed_angle > last_sent_angle) ?
						(smoothed_angle - last_sent_angle) : (last_sent_angle - smoothed_angle);

		if (angle_change >= SERVO_ANGLE_DEADBAND) {
			// Significant change - update servo
			SetServoAngle(smoothed_angle);
			last_sent_angle = smoothed_angle;
		}

		char data_buffer[64];
		// D:Dist; A:Angle; F:Filtered; E:Error; V:AvgError; S:Status; Z:Setpoint
		int len = sprintf(data_buffer, "D:%d;Z:%d;A:%d;F:%d;E:%d;V:%d;S:%d", distance, (int)g_setpoint, (int) smoothed_angle, (int) filtered_dist,
				(int) current_error, (int) avg_error, distanceStr.rangeStatus);

		uint8_t out_crc = CalculateCRC8(data_buffer, len);

		sprintf(msg, "%s;C:%02X\r\n", data_buffer, out_crc);
		HAL_UART_Transmit(&huart3, (uint8_t*) msg, strlen(msg), 10); // Timeout 10ms

		osDelay(10); // Loop delay
	}
  /* USER CODE END StartControlTask */
}

void HAL_TIM_PeriodElapsedCallback(TIM_HandleTypeDef *htim)
{
  if (htim->Instance == TIM1)
  {
    HAL_IncTick();
  }
}

void Error_Handler(void)
{
	__disable_irq();
	while (1) {
	}
}
